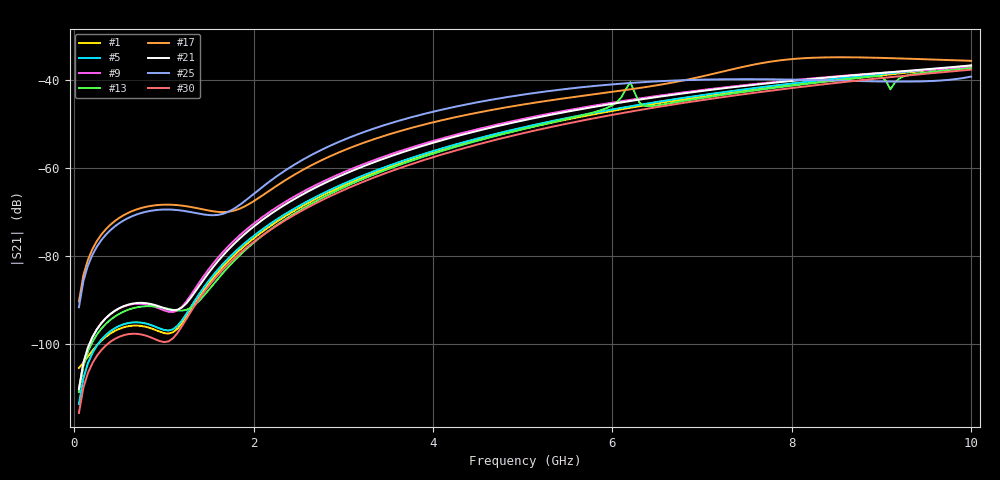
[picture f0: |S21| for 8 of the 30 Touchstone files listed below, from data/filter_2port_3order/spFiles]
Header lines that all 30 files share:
! freq	dB(S11)	phase(S11)	dB(S12)	phase(S12)
!  dB(S21)	phase(S21)	dB(S22)	phase(S22)
!S-par simulation data
#  GHz  S  DB  R 50
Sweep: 50 MHz to 10 GHz
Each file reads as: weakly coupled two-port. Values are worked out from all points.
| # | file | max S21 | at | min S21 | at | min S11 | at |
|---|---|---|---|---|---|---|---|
| 1 | randomGDSSteppedImpFilter_Type=butter_order=3_pixelSize=18_sim=2607.s2p | -36.75 dB | 10 GHz | -105.5 dB | 50 MHz | -0.5 dB | 10 GHz |
| 2 | randomGDSSteppedImpFilter_Type=butter_order=3_pixelSize=18_sim=2608.s2p | -37.56 dB | 10 GHz | -115.3 dB | 50 MHz | -0.5 dB | 10 GHz |
| 3 | randomGDSSteppedImpFilter_Type=butter_order=3_pixelSize=18_sim=2609.s2p | -36.90 dB | 10 GHz | -111.7 dB | 50 MHz | -0.4 dB | 10 GHz |
| 4 | randomGDSSteppedImpFilter_Type=butter_order=3_pixelSize=18_sim=2610.s2p | -37.00 dB | 10 GHz | -95.3 dB | 50 MHz | -0.4 dB | 10 GHz |
| 5 | randomGDSSteppedImpFilter_Type=butter_order=3_pixelSize=18_sim=2611.s2p | -36.90 dB | 10 GHz | -113.8 dB | 50 MHz | -0.5 dB | 10 GHz |
| 6 | randomGDSSteppedImpFilter_Type=butter_order=3_pixelSize=18_sim=2612.s2p | -30.87 dB | 8.05 GHz | -113.3 dB | 50 MHz | -0.5 dB | 10 GHz |
| 7 | randomGDSSteppedImpFilter_Type=butter_order=3_pixelSize=18_sim=2613.s2p | -36.63 dB | 10 GHz | -111.3 dB | 50 MHz | -0.6 dB | 10 GHz |
| 8 | randomGDSSteppedImpFilter_Type=butter_order=3_pixelSize=18_sim=2614.s2p | -36.78 dB | 10 GHz | -104.2 dB | 50 MHz | -0.6 dB | 10 GHz |
| 9 | randomGDSSteppedImpFilter_Type=butter_order=3_pixelSize=18_sim=2615.s2p | -37.15 dB | 10 GHz | -110.3 dB | 50 MHz | -0.6 dB | 10 GHz |
| 10 | randomGDSSteppedImpFilter_Type=butter_order=3_pixelSize=18_sim=2616.s2p | -38.79 dB | 10 GHz | -106.6 dB | 50 MHz | -0.5 dB | 10 GHz |
| 11 | randomGDSSteppedImpFilter_Type=butter_order=3_pixelSize=18_sim=2617.s2p | -36.18 dB | 10 GHz | -110.1 dB | 50 MHz | -0.6 dB | 10 GHz |
| 12 | randomGDSSteppedImpFilter_Type=butter_order=3_pixelSize=18_sim=2618.s2p | -35.83 dB | 10 GHz | -99.7 dB | 50 MHz | -0.4 dB | 10 GHz |
| 13 | randomGDSSteppedImpFilter_Type=butter_order=3_pixelSize=18_sim=2619.s2p | -37.35 dB | 10 GHz | -111.0 dB | 50 MHz | -1.3 dB | 6.2 GHz |
| 14 | randomGDSSteppedImpFilter_Type=butter_order=3_pixelSize=18_sim=2620.s2p | -38.16 dB | 10 GHz | -105.5 dB | 50 MHz | -0.5 dB | 10 GHz |
| 15 | randomGDSSteppedImpFilter_Type=butter_order=3_pixelSize=18_sim=2621.s2p | -37.52 dB | 10 GHz | -114.8 dB | 50 MHz | -0.5 dB | 10 GHz |
| 16 | randomGDSSteppedImpFilter_Type=butter_order=3_pixelSize=18_sim=2622.s2p | -35.97 dB | 10 GHz | -109.7 dB | 50 MHz | -0.5 dB | 10 GHz |
| 17 | randomGDSSteppedImpFilter_Type=butter_order=3_pixelSize=18_sim=2623.s2p | -34.85 dB | 8.55 GHz | -90.4 dB | 50 MHz | -0.5 dB | 10 GHz |
| 18 | randomGDSSteppedImpFilter_Type=butter_order=3_pixelSize=18_sim=2624.s2p | -37.49 dB | 10 GHz | -101.4 dB | 1.2 GHz | -0.4 dB | 10 GHz |
| 19 | randomGDSSteppedImpFilter_Type=butter_order=3_pixelSize=18_sim=2625.s2p | -36.50 dB | 10 GHz | -107.5 dB | 50 MHz | -0.6 dB | 10 GHz |
| 20 | randomGDSSteppedImpFilter_Type=butter_order=3_pixelSize=18_sim=2626.s2p | -38.39 dB | 10 GHz | -117.7 dB | 50 MHz | -0.4 dB | 10 GHz |
| 21 | randomGDSSteppedImpFilter_Type=butter_order=3_pixelSize=18_sim=2627.s2p | -36.70 dB | 10 GHz | -110.4 dB | 50 MHz | -0.4 dB | 10 GHz |
| 22 | randomGDSSteppedImpFilter_Type=butter_order=3_pixelSize=18_sim=2628.s2p | -36.48 dB | 10 GHz | -111.5 dB | 50 MHz | -0.5 dB | 10 GHz |
| 23 | randomGDSSteppedImpFilter_Type=butter_order=3_pixelSize=18_sim=2629.s2p | -37.86 dB | 10 GHz | -116.4 dB | 50 MHz | -0.5 dB | 10 GHz |
| 24 | randomGDSSteppedImpFilter_Type=butter_order=3_pixelSize=18_sim=2630.s2p | -37.34 dB | 10 GHz | -103.4 dB | 50 MHz | -0.4 dB | 10 GHz |
| 25 | randomGDSSteppedImpFilter_Type=butter_order=3_pixelSize=18_sim=2631.s2p | -39.24 dB | 10 GHz | -91.7 dB | 50 MHz | -1.1 dB | 10 GHz |
| 26 | randomGDSSteppedImpFilter_Type=butter_order=3_pixelSize=18_sim=2632.s2p | -37.08 dB | 10 GHz | -85.2 dB | 50 MHz | -0.4 dB | 10 GHz |
| 27 | randomGDSSteppedImpFilter_Type=butter_order=3_pixelSize=18_sim=2633.s2p | -37.11 dB | 10 GHz | -113.4 dB | 50 MHz | -0.6 dB | 10 GHz |
| 28 | randomGDSSteppedImpFilter_Type=butter_order=3_pixelSize=18_sim=2634.s2p | -37.38 dB | 10 GHz | -114.7 dB | 50 MHz | -0.5 dB | 10 GHz |
| 29 | randomGDSSteppedImpFilter_Type=butter_order=3_pixelSize=18_sim=2635.s2p | -38.41 dB | 10 GHz | -117.7 dB | 50 MHz | -0.4 dB | 10 GHz |
| 30 | randomGDSSteppedImpFilter_Type=butter_order=3_pixelSize=18_sim=2636.s2p | -37.68 dB | 10 GHz | -115.8 dB | 50 MHz | -0.4 dB | 10 GHz |
